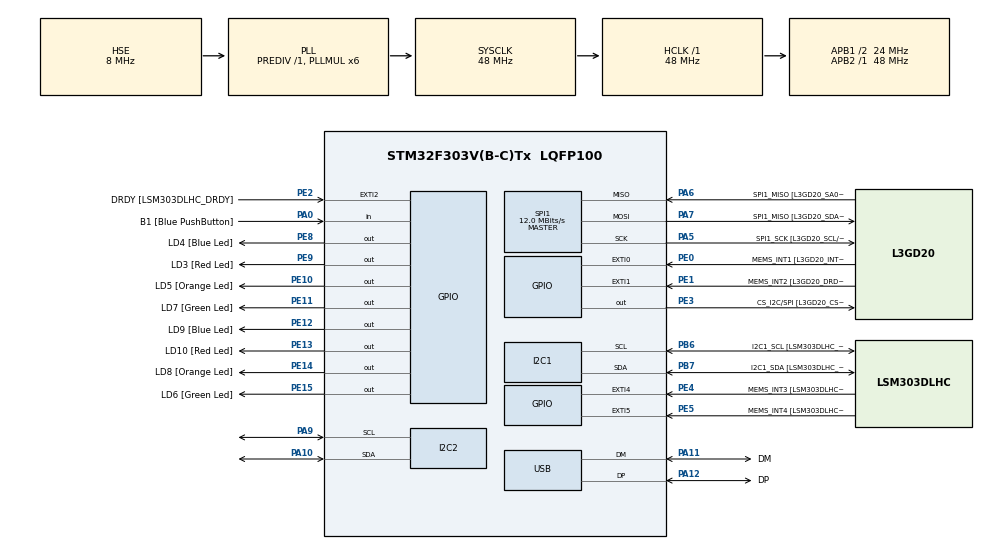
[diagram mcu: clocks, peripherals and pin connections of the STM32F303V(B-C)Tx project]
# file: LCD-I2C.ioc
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I2C1.Timing=0x2000090E
I2C1.Timing-I2C=0x2000090E
Mcu.Family=STM32F3
Mcu.Name=STM32F303V(B-C)Tx
Mcu.Package=LQFP100
NVIC.PriorityGroup=NVIC_PRIORITYGROUP_0
PA0.GPIO_Label=B1 [Blue PushButton]
PA0.Signal=GPIO_Input
PA10.Mode=I2C
PA10.Signal=I2C2_SDA
PA11.GPIO_Label=DM
PA11.Mode=Device
PA11.Signal=USB_DM
PA12.GPIO_Label=DP
PA12.Mode=Device
PA12.Signal=USB_DP
PA13.GPIO_Label=SWDIO
PA13.Mode=Serial_Wire
PA13.Signal=SYS_JTMS-SWDIO
PA14.GPIO_Label=SWCLK
PA14.Mode=Serial_Wire
PA14.Signal=SYS_JTCK-SWCLK
PA5.GPIO_Label=SPI1_SCK [L3GD20_SCL/SPC]
PA5.Mode=Full_Duplex_Master
PA5.Signal=SPI1_SCK
PA6.GPIO_Label=SPI1_MISO [L3GD20_SA0/SDO]
PA6.Mode=Full_Duplex_Master
PA6.Signal=SPI1_MISO
PA7.GPIO_Label=SPI1_MISO [L3GD20_SDA/SDI/SDO]
PA7.Mode=Full_Duplex_Master
PA7.Signal=SPI1_MOSI
PA9.Mode=I2C
PA9.Signal=I2C2_SCL
PB3.GPIO_Label=SWO
PB3.Signal=SYS_JTDO-TRACESWO
PB6.GPIO_Label=I2C1_SCL [LSM303DLHC_SCL]
PB6.GPIO_Pu=GPIO_PULLUP
PB6.Mode=I2C
PB6.Signal=I2C1_SCL
PB7.GPIO_Label=I2C1_SDA [LSM303DLHC_SDA]
PB7.GPIO_Pu=GPIO_PULLUP
PB7.Mode=I2C
PB7.Signal=I2C1_SDA
PC14-OSC32_IN.GPIO_Label=OSC32_IN
PC14-OSC32_IN.Signal=RCC_OSC32_IN
PC15-OSC32_OUT.GPIO_Label=OSC32_OUT
PC15-OSC32_OUT.Signal=RCC_OSC32_OUT
PE0.GPIO_Label=MEMS_INT1 [L3GD20_INT1]
PE0.GPIO_ModeDefaultEXTI=GPIO_MODE_EVT_RISING
PE0.Signal=GPXTI0
PE1.GPIO_Label=MEMS_INT2 [L3GD20_DRDY/INT2]
PE1.GPIO_ModeDefaultEXTI=GPIO_MODE_EVT_RISING
PE1.Signal=GPXTI1
PE10.GPIO_Label=LD5 [Orange Led]
PE10.Signal=GPIO_Output
PE11.GPIO_Label=LD7 [Green Led]
PE11.Signal=GPIO_Output
PE12.GPIO_Label=LD9 [Blue Led]
PE12.Signal=GPIO_Output
PE13.GPIO_Label=LD10 [Red Led]
PE13.Signal=GPIO_Output
PE14.GPIO_Label=LD8 [Orange Led]
PE14.Signal=GPIO_Output
PE15.GPIO_Label=LD6 [Green Led]
PE15.Signal=GPIO_Output
PE2.GPIO_Label=DRDY [LSM303DLHC_DRDY]
PE2.GPIO_ModeDefaultEXTI=GPIO_MODE_EVT_RISING
PE2.Signal=GPXTI2
PE3.GPIO_Label=CS_I2C/SPI [L3GD20_CS_I2C/SPI]
PE3.Signal=GPIO_Output
PE4.GPIO_Label=MEMS_INT3 [LSM303DLHC_INT1]
PE4.GPIO_ModeDefaultEXTI=GPIO_MODE_EVT_RISING
PE4.Signal=GPXTI4
PE5.GPIO_Label=MEMS_INT4 [LSM303DLHC_INT2]
PE5.GPIO_ModeDefaultEXTI=GPIO_MODE_EVT_RISING
PE5.Signal=GPXTI5
PE8.GPIO_Label=LD4 [Blue Led]
PE8.Signal=GPIO_Output
PE9.GPIO_Label=LD3 [Red Led]
PE9.Signal=GPIO_Output
PF0-OSC_IN.GPIO_Label=OSC_IN
PF0-OSC_IN.Mode=HSE-External-Oscillator
PF0-OSC_IN.Signal=RCC_OSC_IN
PF1-OSC_OUT.GPIO_Label=OSC_OUT
PF1-OSC_OUT.Mode=HSE-External-Oscillator
PF1-OSC_OUT.Signal=RCC_OSC_OUT
ProjectManager.HeapSize=0x200
ProjectManager.StackSize=0x400
ProjectManager.TargetToolchain=STM32CubeIDE
RCC.AHBFreq_Value=48000000
RCC.APB1CLKDivider=RCC_HCLK_DIV2
RCC.APB1Freq_Value=24000000
RCC.APB1TimFreq_Value=48000000
RCC.APB2Freq_Value=48000000
RCC.APB2TimFreq_Value=48000000
RCC.CortexFreq_Value=48000000
RCC.HCLKFreq_Value=48000000
RCC.HSE_VALUE=8000000
RCC.HSI_VALUE=8000000
RCC.LSE_VALUE=32768
RCC.PLLMUL=RCC_PLL_MUL6
RCC.SYSCLKFreq_VALUE=48000000
RCC.SYSCLKSourceVirtual=RCC_SYSCLKSOURCE_PLLCLK
RCC.USBFreq_Value=48000000
SPI1.BaudRatePrescaler=SPI_BAUDRATEPRESCALER_4
SPI1.BaudRatePrescaler-Full_Duplex_Master=SPI_BAUDRATEPRESCALER_2
SPI1.CalculateBaudRate=12.0 MBits/s
SPI1.CalculateBaudRate-Full_Duplex_Master=24.0 MBits/s
SPI1.Direction=SPI_DIRECTION_2LINES
SPI1.Mode=SPI_MODE_MASTER
SPI1.Mode-Full_Duplex_Master=SPI_MODE_MASTER
SPI1.VirtualType=VM_MASTER
board=STM32F3DISCOVERY

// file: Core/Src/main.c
/* USER CODE BEGIN Header */
/**
  ******************************************************************************
  * @file           : main.c
  * @brief          : Main program body
  ******************************************************************************
  * @attention
  *
  * Copyright (c) 2023 STMicroelectronics.
  * All rights reserved.
  *
  * This software is licensed under terms that can be found in the LICENSE file
  * in the root directory of this software component.
  * If no LICENSE file comes with this software, it is provided AS-IS.
  *
  ******************************************************************************
  */
/* USER CODE END Header */
#include "main.h"

/* USER CODE BEGIN Includes */
#include "liquidcrystal_i2c.h"

// Use I2C 2 for the lcd screen, you can set whichever pins you want
// I've set the I2C_ADDRESS for our LCD screen

/* USER CODE END Includes */

I2C_HandleTypeDef hi2c1;
I2C_HandleTypeDef hi2c2;

SPI_HandleTypeDef hspi1;

PCD_HandleTypeDef hpcd_USB_FS;

void SystemClock_Config(void);
static void MX_GPIO_Init(void);
static void MX_I2C1_Init(void);
static void MX_SPI1_Init(void);
static void MX_USB_PCD_Init(void);
static void MX_I2C2_Init(void);

int main(void)
{

  /* MCU Configuration--------------------------------------------------------*/

  /* Reset of all peripherals, Initializes the Flash interface and the Systick. */
  HAL_Init();

  /* Configure the system clock */
  SystemClock_Config();

  /* Initialize all configured peripherals */
  MX_GPIO_Init();
  MX_I2C1_Init();
  MX_SPI1_Init();
  MX_USB_PCD_Init();
  MX_I2C2_Init();
  /* USER CODE BEGIN 2 */

  HD44780_Init(2);
  HD44780_Clear();
  HD44780_SetCursor(0,0);
  HD44780_PrintStr("HELLO");
  HD44780_SetCursor(10,1);
  HD44780_PrintStr("WORLD");
  HAL_Delay(2000);

  HD44780_Clear();
  HD44780_SetCursor(0,0);
  HD44780_PrintStr("HELLO");
  HAL_Delay(2000);
  HD44780_NoBacklight();
  HAL_Delay(2000);
  HD44780_Backlight();

  HAL_Delay(2000);
  HD44780_Cursor();
  HAL_Delay(2000);
  HD44780_Blink();
  HAL_Delay(5000);
  HD44780_NoBlink();
  HAL_Delay(2000);
  HD44780_NoCursor();
  HAL_Delay(2000);

  HD44780_NoDisplay();
  HAL_Delay(2000);
  HD44780_Display();

  HD44780_Clear();
  HD44780_SetCursor(0,0);
  HD44780_PrintStr("Learning STM32 with LCD is fun :-)");
  int x;
  for(int x=0; x<40; x=x+1)
  {
    HD44780_ScrollDisplayLeft();  //HD44780_ScrollDisplayRight();
    HAL_Delay(500);
  }

  char snum[5];
  for ( int x = 1; x <= 200 ; x++ )
  {
    itoa(x, snum, 10);
    HD44780_Clear();
    HD44780_SetCursor(0,0);
    HD44780_PrintStr(snum);
    HAL_Delay (1000);
  }

  /* USER CODE END 2 */

  /* Infinite loop */
  while (1)
  {

  }
}

void SystemClock_Config(void)
{
  RCC_OscInitTypeDef RCC_OscInitStruct = {0};
  RCC_ClkInitTypeDef RCC_ClkInitStruct = {0};
  RCC_PeriphCLKInitTypeDef PeriphClkInit = {0};

  /** Initializes the RCC Oscillators according to the specified parameters
  * in the RCC_OscInitTypeDef structure.
  */
  RCC_OscInitStruct.OscillatorType = RCC_OSCILLATORTYPE_HSI|RCC_OSCILLATORTYPE_HSE;
  RCC_OscInitStruct.HSEState = RCC_HSE_ON;
  RCC_OscInitStruct.HSEPredivValue = RCC_HSE_PREDIV_DIV1;
  RCC_OscInitStruct.HSIState = RCC_HSI_ON;
  RCC_OscInitStruct.HSICalibrationValue = RCC_HSICALIBRATION_DEFAULT;
  RCC_OscInitStruct.PLL.PLLState = RCC_PLL_ON;
  RCC_OscInitStruct.PLL.PLLSource = RCC_PLLSOURCE_HSE;
  RCC_OscInitStruct.PLL.PLLMUL = RCC_PLL_MUL6;
  if (HAL_RCC_OscConfig(&RCC_OscInitStruct) != HAL_OK)
  {
    Error_Handler();
  }

  /** Initializes the CPU, AHB and APB buses clocks
  */
  RCC_ClkInitStruct.ClockType = RCC_CLOCKTYPE_HCLK|RCC_CLOCKTYPE_SYSCLK
                              |RCC_CLOCKTYPE_PCLK1|RCC_CLOCKTYPE_PCLK2;
  RCC_ClkInitStruct.SYSCLKSource = RCC_SYSCLKSOURCE_PLLCLK;
  RCC_ClkInitStruct.AHBCLKDivider = RCC_SYSCLK_DIV1;
  RCC_ClkInitStruct.APB1CLKDivider = RCC_HCLK_DIV2;
  RCC_ClkInitStruct.APB2CLKDivider = RCC_HCLK_DIV1;

  if (HAL_RCC_ClockConfig(&RCC_ClkInitStruct, FLASH_LATENCY_1) != HAL_OK)
  {
    Error_Handler();
  }
  PeriphClkInit.PeriphClockSelection = RCC_PERIPHCLK_USB|RCC_PERIPHCLK_I2C1
                              |RCC_PERIPHCLK_I2C2;
  PeriphClkInit.I2c1ClockSelection = RCC_I2C1CLKSOURCE_HSI;
  PeriphClkInit.I2c2ClockSelection = RCC_I2C2CLKSOURCE_HSI;
  PeriphClkInit.USBClockSelection = RCC_USBCLKSOURCE_PLL;
  if (HAL_RCCEx_PeriphCLKConfig(&PeriphClkInit) != HAL_OK)
  {
    Error_Handler();
  }
}

static void MX_I2C1_Init(void)
{

  hi2c1.Instance = I2C1;
  hi2c1.Init.Timing = 0x2000090E;
  hi2c1.Init.OwnAddress1 = 0;
  hi2c1.Init.AddressingMode = I2C_ADDRESSINGMODE_7BIT;
  hi2c1.Init.DualAddressMode = I2C_DUALADDRESS_DISABLE;
  hi2c1.Init.OwnAddress2 = 0;
  hi2c1.Init.OwnAddress2Masks = I2C_OA2_NOMASK;
  hi2c1.Init.GeneralCallMode = I2C_GENERALCALL_DISABLE;
  hi2c1.Init.NoStretchMode = I2C_NOSTRETCH_DISABLE;
  if (HAL_I2C_Init(&hi2c1) != HAL_OK)
  {
    Error_Handler();
  }

  /** Configure Analogue filter
  */
  if (HAL_I2CEx_ConfigAnalogFilter(&hi2c1, I2C_ANALOGFILTER_ENABLE) != HAL_OK)
  {
    Error_Handler();
  }

  /** Configure Digital filter
  */
  if (HAL_I2CEx_ConfigDigitalFilter(&hi2c1, 0) != HAL_OK)
  {
    Error_Handler();
  }

}

static void MX_I2C2_Init(void)
{

  hi2c2.Instance = I2C2;
  hi2c2.Init.Timing = 0x2000090E;
  hi2c2.Init.OwnAddress1 = 0;
  hi2c2.Init.AddressingMode = I2C_ADDRESSINGMODE_7BIT;
  hi2c2.Init.DualAddressMode = I2C_DUALADDRESS_DISABLE;
  hi2c2.Init.OwnAddress2 = 0;
  hi2c2.Init.OwnAddress2Masks = I2C_OA2_NOMASK;
  hi2c2.Init.GeneralCallMode = I2C_GENERALCALL_DISABLE;
  hi2c2.Init.NoStretchMode = I2C_NOSTRETCH_DISABLE;
  if (HAL_I2C_Init(&hi2c2) != HAL_OK)
  {
    Error_Handler();
  }

  /** Configure Analogue filter
  */
  if (HAL_I2CEx_ConfigAnalogFilter(&hi2c2, I2C_ANALOGFILTER_ENABLE) != HAL_OK)
  {
    Error_Handler();
  }

  /** Configure Digital filter
  */
  if (HAL_I2CEx_ConfigDigitalFilter(&hi2c2, 0) != HAL_OK)
  {
    Error_Handler();
  }

}

static void MX_SPI1_Init(void)
{

  /* SPI1 parameter configuration*/
  hspi1.Instance = SPI1;
  hspi1.Init.Mode = SPI_MODE_MASTER;
  hspi1.Init.Direction = SPI_DIRECTION_2LINES;
  hspi1.Init.DataSize = SPI_DATASIZE_4BIT;
  hspi1.Init.CLKPolarity = SPI_POLARITY_LOW;
  hspi1.Init.CLKPhase = SPI_PHASE_1EDGE;
  hspi1.Init.NSS = SPI_NSS_SOFT;
  hspi1.Init.BaudRatePrescaler = SPI_BAUDRATEPRESCALER_4;
  hspi1.Init.FirstBit = SPI_FIRSTBIT_MSB;
  hspi1.Init.TIMode = SPI_TIMODE_DISABLE;
  hspi1.Init.CRCCalculation = SPI_CRCCALCULATION_DISABLE;
  hspi1.Init.CRCPolynomial = 7;
  hspi1.Init.CRCLength = SPI_CRC_LENGTH_DATASIZE;
  hspi1.Init.NSSPMode = SPI_NSS_PULSE_ENABLE;
  if (HAL_SPI_Init(&hspi1) != HAL_OK)
  {
    Error_Handler();
  }

}

static void MX_USB_PCD_Init(void)
{

  hpcd_USB_FS.Instance = USB;
  hpcd_USB_FS.Init.dev_endpoints = 8;
  hpcd_USB_FS.Init.speed = PCD_SPEED_FULL;
  hpcd_USB_FS.Init.phy_itface = PCD_PHY_EMBEDDED;
  hpcd_USB_FS.Init.low_power_enable = DISABLE;
  hpcd_USB_FS.Init.battery_charging_enable = DISABLE;
  if (HAL_PCD_Init(&hpcd_USB_FS) != HAL_OK)
  {
    Error_Handler();
  }

}

static void MX_GPIO_Init(void)
{
  GPIO_InitTypeDef GPIO_InitStruct = {0};

  /* GPIO Ports Clock Enable */
  __HAL_RCC_GPIOE_CLK_ENABLE();
  __HAL_RCC_GPIOC_CLK_ENABLE();
  __HAL_RCC_GPIOF_CLK_ENABLE();
  __HAL_RCC_GPIOA_CLK_ENABLE();
  __HAL_RCC_GPIOB_CLK_ENABLE();

  /*Configure GPIO pin Output Level */
  HAL_GPIO_WritePin(GPIOE, CS_I2C_SPI_Pin|LD4_Pin|LD3_Pin|LD5_Pin
                          |LD7_Pin|LD9_Pin|LD10_Pin|LD8_Pin
                          |LD6_Pin, GPIO_PIN_RESET);

  /*Configure GPIO pins : DRDY_Pin MEMS_INT3_Pin MEMS_INT4_Pin MEMS_INT1_Pin
                           MEMS_INT2_Pin */
  GPIO_InitStruct.Pin = DRDY_Pin|MEMS_INT3_Pin|MEMS_INT4_Pin|MEMS_INT1_Pin
                          |MEMS_INT2_Pin;
  GPIO_InitStruct.Mode = GPIO_MODE_EVT_RISING;
  GPIO_InitStruct.Pull = GPIO_NOPULL;
  HAL_GPIO_Init(GPIOE, &GPIO_InitStruct);

  /*Configure GPIO pins : CS_I2C_SPI_Pin LD4_Pin LD3_Pin LD5_Pin
                           LD7_Pin LD9_Pin LD10_Pin LD8_Pin
                           LD6_Pin */
  GPIO_InitStruct.Pin = CS_I2C_SPI_Pin|LD4_Pin|LD3_Pin|LD5_Pin
                          |LD7_Pin|LD9_Pin|LD10_Pin|LD8_Pin
                          |LD6_Pin;
  GPIO_InitStruct.Mode = GPIO_MODE_OUTPUT_PP;
  GPIO_InitStruct.Pull = GPIO_NOPULL;
  GPIO_InitStruct.Speed = GPIO_SPEED_FREQ_LOW;
  HAL_GPIO_Init(GPIOE, &GPIO_InitStruct);

  /*Configure GPIO pin : B1_Pin */
  GPIO_InitStruct.Pin = B1_Pin;
  GPIO_InitStruct.Mode = GPIO_MODE_INPUT;
  GPIO_InitStruct.Pull = GPIO_NOPULL;
  HAL_GPIO_Init(B1_GPIO_Port, &GPIO_InitStruct);

}

void Error_Handler(void)
{
  __disable_irq();
  while (1)
  {
  }
}
